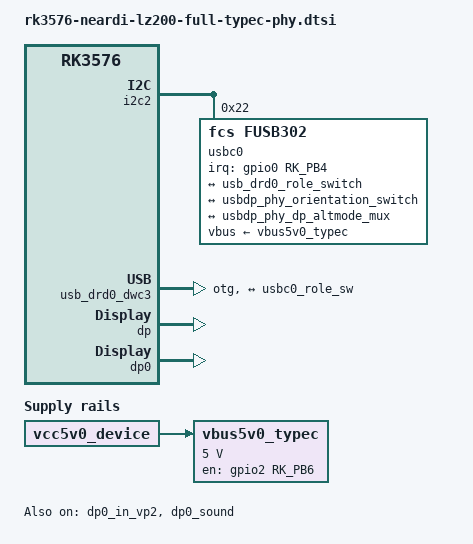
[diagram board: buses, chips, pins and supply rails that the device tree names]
/* power config */
&{/} {
    vbus5v0_typec: vbus5v0-typec {
		compatible = "regulator-fixed";
		regulator-name = "vbus5v0_typec";
		regulator-min-microvolt = <5000000>;
		regulator-max-microvolt = <5000000>;
		enable-active-high;
		gpio = <&gpio2 RK_PB6 GPIO_ACTIVE_HIGH>;
		vin-supply = <&vcc5v0_device>;
		pinctrl-names = "default";
		pinctrl-0 = <&usb_otg0_pwren>;
	};
};

/* cc chip fusb302 config */
&i2c2 {
	status = "okay";
	usbc0: fusb302@22 {
		compatible = "fcs,fusb302";
		reg = <0x22>;
		interrupt-parent = <&gpio0>;
		interrupts = <RK_PB4 IRQ_TYPE_LEVEL_LOW>;
		pinctrl-names = "default";
		pinctrl-0 = <&usbc0_int>;
		vbus-supply = <&vbus5v0_typec>;
		status = "okay";

		port {
			usbc0_role_sw: endpoint {
				remote-endpoint = <&usb_drd0_role_switch>;
			};
		};

		usb_con: connector {
			compatible = "usb-c-connector";
			label = "USB-C";
			data-role = "dual";
			power-role = "dual";
			try-power-role = "sink";
			op-sink-microwatt = <1000000>;
			sink-pdos =
				<PDO_FIXED(5000, 1000, PDO_FIXED_USB_COMM)>;
			source-pdos =
				<PDO_FIXED(5000, 3000, PDO_FIXED_USB_COMM)>;
			mode-switch = <&dp>;

			altmodes {
				#address-cells = <1>;
				#size-cells = <0>;

				altmode@0 {
					reg = <0>;
					svid = <0xff01>;
					vdo = <0xffffffff>;
				};
			};

			ports {
				#address-cells = <1>;
				#size-cells = <0>;

				port@0 {
					reg = <0>;
					usbc0_orien_sw: endpoint {
						remote-endpoint = <&usbdp_phy_orientation_switch>;
					};
				};

				port@1 {
					reg = <1>;
					dp_altmode_mux: endpoint {
						remote-endpoint = <&usbdp_phy_dp_altmode_mux>;
					};
				};
			};
		};
	};
};

/* type-c phy usb config */
&usb_drd0_dwc3 {
	dr_mode = "otg";
	usb-role-switch;
	port {
		usb_drd0_role_switch: endpoint {
			remote-endpoint = <&usbc0_role_sw>;
		};
	};
};

/* dp phy config */
&usbdp_phy {
	orientation-switch;
	svid = <0xff01>;
	/* neardi: type-c port sub1 & sub2 */
	//sbu1-dc-gpios = <&gpio2 RK_PA6 GPIO_ACTIVE_HIGH>;
	//sbu2-dc-gpios = <&gpio2 RK_PA7 GPIO_ACTIVE_HIGH>;
	port {
		#address-cells = <1>;
		#size-cells = <0>;

		usbdp_phy_orientation_switch: endpoint@0 {
			reg = <0>;
			remote-endpoint = <&usbc0_orien_sw>;
		};

		usbdp_phy_dp_altmode_mux: endpoint@1 {
			reg = <1>;
			remote-endpoint = <&dp_altmode_mux>;
		};
	};
};

/* dp switch */
&dp {
	status = "okay";
	svid = <0xff01>;
};

&dp0 {
	status = "okay";
};

&dp0_in_vp0 {
	status = "disabled";
};

&dp0_in_vp1 {
	status = "disabled";
};

&dp0_in_vp2 {
	status = "okay";
};

/* dp sound */
&dp0_sound {
	status = "okay";
};

/* pinctrl */
&pinctrl {
    typec_phy {
        usbc0_int: usbc0-int {
			rockchip,pins = <0 RK_PB4 RK_FUNC_GPIO &pcfg_pull_up>;
	    };

        usb_otg0_pwren: usb-otg0-pwren {
			rockchip,pins = <2 RK_PB6 RK_FUNC_GPIO &pcfg_pull_none>;
		};
    };
};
